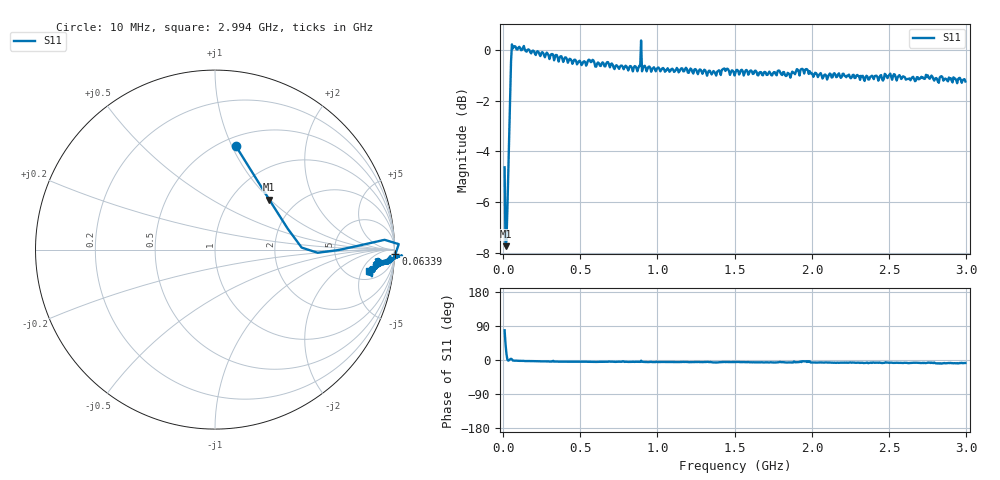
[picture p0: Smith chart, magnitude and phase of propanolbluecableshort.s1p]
# HZ S RI R 50
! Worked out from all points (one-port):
!   504 points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, 10 MHz to 2.994 GHz, reference 50 ohm
!   lowest |S11| = -7.7 dB at 15.93 MHz (marker M1), VSWR 2.39, Z = 73.7 + j49.3 ohm
!   |S11| at or under -10 dB: nowhere
!   S11 on the Smith chart (normalised r, x): 10 MHz: 0.59, +1.04; 63.39 MHz: -17, -78; 2.994 GHz: 7, -7
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1e7  0.1174 0.5752
1.593254e7  0.3025 0.2779
2.779762e7  0.4826 0.0113
3.373016e7  0.5718 -0.0176
4.559524e7  0.8161 0.0254
5.152778e7  0.9449 0.0546
6.339286e7  1.005 -0.0247
7.525794e7  1.015 -0.0324
1.049206e8  1.012 -0.0398
3.8375e8  0.957 -0.0732
7.575e8  0.9225 -0.0779
8.761508e8  0.9173 -0.079
8.820834e8  0.9265 -0.0797
9.058135e8  0.9187 -0.0798
9.117461e8  0.9239 -0.0823
1.13125e9  0.9114 -0.0848
1.327024e9  0.8986 -0.0776
1.374484e9  0.8912 -0.1028
1.505e9  0.8974 -0.0856
1.87875e9  0.8956 -0.1038
1.908413e9  0.9087 -0.0935
1.949941e9  0.8959 -0.0549
2.015199e9  0.8863 -0.102
2.2525e9  0.8727 -0.0994
2.62625e9  0.8669 -0.1251
2.762699e9  0.87 -0.1066
2.827956e9  0.8699 -0.1434
2.994068e9  0.8578 -0.118
